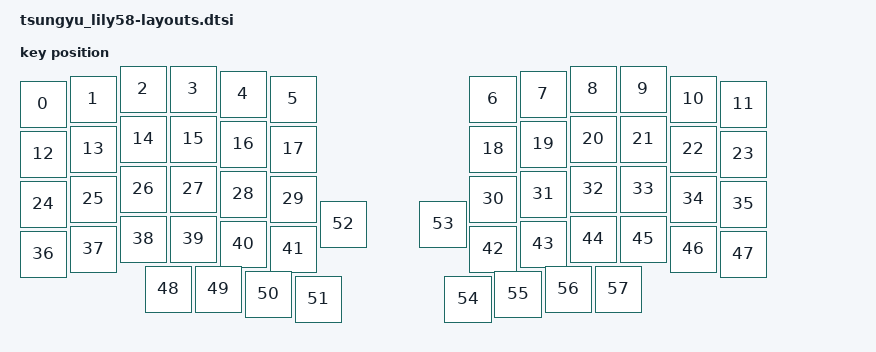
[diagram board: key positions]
// See https://zmk.dev/docs/development/hardware-integration/physical-layouts
// for how to configure this.

#include <physical_layouts.dtsi>

/ {
    default_layout: default_layout {
        compatible = "zmk,physical-layout";
        display-name = "Default Layout";
        transform = <&default_transform>;
        kscan = <&kscan>;

        // Edit this to define the positions and sizes of the keys, or remove it
        // if your keyboard will not support ZMK Studio.
        // https://zmk.dev/docs/development/hardware-integration/physical-layouts#optional-keys-property
        keys  //                     w   h    x    y     rot    rx    ry
            = <&key_physical_attrs 100 100    0   30       0     0     0>  // row 0
            , <&key_physical_attrs 100 100  100   20       0     0     0>
            , <&key_physical_attrs 100 100  200    0       0     0     0>
            , <&key_physical_attrs 100 100  300    0       0     0     0>
            , <&key_physical_attrs 100 100  400   10       0     0     0>
            , <&key_physical_attrs 100 100  500   20       0     0     0>

            , <&key_physical_attrs 100 100  900   20       0     0     0>
            , <&key_physical_attrs 100 100 1000   10       0     0     0>
            , <&key_physical_attrs 100 100 1100    0       0     0     0>
            , <&key_physical_attrs 100 100 1200    0       0     0     0>
            , <&key_physical_attrs 100 100 1300   20       0     0     0>
            , <&key_physical_attrs 100 100 1400   30       0     0     0>


            , <&key_physical_attrs 100 100    0  130       0     0     0>  // row 1
            , <&key_physical_attrs 100 100  100  120       0     0     0>
            , <&key_physical_attrs 100 100  200  100       0     0     0>
            , <&key_physical_attrs 100 100  300  100       0     0     0>
            , <&key_physical_attrs 100 100  400  110       0     0     0>
            , <&key_physical_attrs 100 100  500  120       0     0     0>

            , <&key_physical_attrs 100 100  900  120       0     0     0>
            , <&key_physical_attrs 100 100 1000  110       0     0     0>
            , <&key_physical_attrs 100 100 1100  100       0     0     0>
            , <&key_physical_attrs 100 100 1200  100       0     0     0>
            , <&key_physical_attrs 100 100 1300  120       0     0     0>
            , <&key_physical_attrs 100 100 1400  130       0     0     0>


            , <&key_physical_attrs 100 100    0  230       0     0     0> // row 2
            , <&key_physical_attrs 100 100  100  220       0     0     0>
            , <&key_physical_attrs 100 100  200  200       0     0     0>
            , <&key_physical_attrs 100 100  300  200       0     0     0>
            , <&key_physical_attrs 100 100  400  210       0     0     0>
            , <&key_physical_attrs 100 100  500  220       0     0     0>

            , <&key_physical_attrs 100 100  900  220       0     0     0>
            , <&key_physical_attrs 100 100 1000  210       0     0     0>
            , <&key_physical_attrs 100 100 1100  200       0     0     0>
            , <&key_physical_attrs 100 100 1200  200       0     0     0>
            , <&key_physical_attrs 100 100 1300  220       0     0     0>
            , <&key_physical_attrs 100 100 1400  230       0     0     0>

            , <&key_physical_attrs 100 100    0  330       0     0     0>  // row 3
            , <&key_physical_attrs 100 100  100  320       0     0     0>
            , <&key_physical_attrs 100 100  200  300       0     0     0>
            , <&key_physical_attrs 100 100  300  300       0     0     0>
            , <&key_physical_attrs 100 100  400  310       0     0     0>
            , <&key_physical_attrs 100 100  500  320       0     0     0>

            , <&key_physical_attrs 100 100  900  320       0     0     0>
            , <&key_physical_attrs 100 100 1000  310       0     0     0>
            , <&key_physical_attrs 100 100 1100  300       0     0     0>
            , <&key_physical_attrs 100 100 1200  300       0     0     0>
            , <&key_physical_attrs 100 100 1300  320       0     0     0>
            , <&key_physical_attrs 100 100 1400  330       0     0     0>

            , <&key_physical_attrs 100 100  250  400       0     0     0>  // row 4
            , <&key_physical_attrs 100 100  350  400       0     0     0>
            , <&key_physical_attrs 100 100  450  410       0     0     0>
            , <&key_physical_attrs 100 100  550  420       0     0     0>
            , <&key_physical_attrs 100 100  600  270       0     0     0>

            , <&key_physical_attrs 100 100  800  270       0     0     0>
            , <&key_physical_attrs 100 100  850  420       0     0     0>
            , <&key_physical_attrs 100 100  950  410       0     0     0>
            , <&key_physical_attrs 100 100 1050  400       0     0     0>
            , <&key_physical_attrs 100 100 1150  400       0     0     0>
            ;
    };
};
